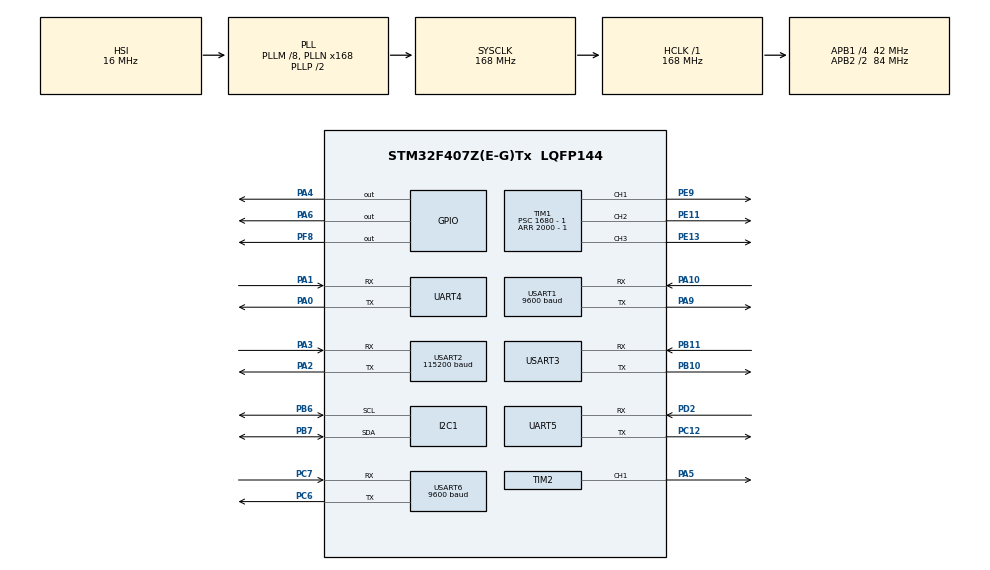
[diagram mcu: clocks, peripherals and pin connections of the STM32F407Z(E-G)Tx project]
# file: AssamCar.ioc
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Dma.I2C1_RX.4.Direction=DMA_PERIPH_TO_MEMORY
Dma.I2C1_RX.4.FIFOMode=DMA_FIFOMODE_DISABLE
Dma.I2C1_RX.4.Instance=DMA1_Stream0
Dma.I2C1_RX.4.MemDataAlignment=DMA_MDATAALIGN_BYTE
Dma.I2C1_RX.4.MemInc=DMA_MINC_ENABLE
Dma.I2C1_RX.4.Mode=DMA_NORMAL
Dma.I2C1_RX.4.PeriphDataAlignment=DMA_PDATAALIGN_BYTE
Dma.I2C1_RX.4.PeriphInc=DMA_PINC_DISABLE
Dma.I2C1_RX.4.Priority=DMA_PRIORITY_LOW
Dma.Request0=UART4_RX
Dma.Request1=UART4_TX
Dma.Request2=USART1_RX
Dma.Request3=USART3_RX
Dma.Request4=I2C1_RX
Dma.UART4_RX.0.Direction=DMA_PERIPH_TO_MEMORY
Dma.UART4_RX.0.FIFOMode=DMA_FIFOMODE_DISABLE
Dma.UART4_RX.0.Instance=DMA1_Stream2
Dma.UART4_RX.0.MemDataAlignment=DMA_MDATAALIGN_BYTE
Dma.UART4_RX.0.MemInc=DMA_MINC_ENABLE
Dma.UART4_RX.0.Mode=DMA_NORMAL
Dma.UART4_RX.0.PeriphDataAlignment=DMA_PDATAALIGN_BYTE
Dma.UART4_RX.0.PeriphInc=DMA_PINC_DISABLE
Dma.UART4_RX.0.Priority=DMA_PRIORITY_LOW
Dma.UART4_TX.1.Direction=DMA_MEMORY_TO_PERIPH
Dma.UART4_TX.1.FIFOMode=DMA_FIFOMODE_DISABLE
Dma.UART4_TX.1.Instance=DMA1_Stream4
Dma.UART4_TX.1.MemDataAlignment=DMA_MDATAALIGN_BYTE
Dma.UART4_TX.1.MemInc=DMA_MINC_ENABLE
Dma.UART4_TX.1.Mode=DMA_NORMAL
Dma.UART4_TX.1.PeriphDataAlignment=DMA_PDATAALIGN_BYTE
Dma.UART4_TX.1.PeriphInc=DMA_PINC_DISABLE
Dma.UART4_TX.1.Priority=DMA_PRIORITY_LOW
Dma.USART1_RX.2.Direction=DMA_PERIPH_TO_MEMORY
Dma.USART1_RX.2.FIFOMode=DMA_FIFOMODE_DISABLE
Dma.USART1_RX.2.Instance=DMA2_Stream2
Dma.USART1_RX.2.MemDataAlignment=DMA_MDATAALIGN_BYTE
Dma.USART1_RX.2.MemInc=DMA_MINC_ENABLE
Dma.USART1_RX.2.Mode=DMA_NORMAL
Dma.USART1_RX.2.PeriphDataAlignment=DMA_PDATAALIGN_BYTE
Dma.USART1_RX.2.PeriphInc=DMA_PINC_DISABLE
Dma.USART1_RX.2.Priority=DMA_PRIORITY_LOW
Dma.USART3_RX.3.Direction=DMA_PERIPH_TO_MEMORY
Dma.USART3_RX.3.FIFOMode=DMA_FIFOMODE_DISABLE
Dma.USART3_RX.3.Instance=DMA1_Stream1
Dma.USART3_RX.3.MemDataAlignment=DMA_MDATAALIGN_BYTE
Dma.USART3_RX.3.MemInc=DMA_MINC_ENABLE
Dma.USART3_RX.3.Mode=DMA_NORMAL
Dma.USART3_RX.3.PeriphDataAlignment=DMA_PDATAALIGN_BYTE
Dma.USART3_RX.3.PeriphInc=DMA_PINC_DISABLE
Dma.USART3_RX.3.Priority=DMA_PRIORITY_LOW
Mcu.Family=STM32F4
Mcu.Name=STM32F407Z(E-G)Tx
Mcu.Package=LQFP144
NVIC.DMA1_Stream0_IRQn=true\:0\:0\:false\:false\:true\:false\:true\:true
NVIC.DMA1_Stream1_IRQn=true\:0\:0\:false\:false\:true\:false\:true\:true
NVIC.DMA1_Stream2_IRQn=true\:0\:0\:false\:false\:true\:false\:true\:true
NVIC.DMA1_Stream4_IRQn=true\:0\:0\:false\:false\:true\:false\:true\:true
NVIC.DMA2_Stream2_IRQn=true\:0\:0\:false\:false\:true\:false\:true\:true
NVIC.PriorityGroup=NVIC_PRIORITYGROUP_4
NVIC.TIM2_IRQn=true\:0\:0\:false\:false\:true\:true\:true\:true
NVIC.USART1_IRQn=true\:0\:0\:false\:false\:true\:true\:true\:true
NVIC.USART6_IRQn=true\:0\:0\:false\:false\:true\:true\:true\:true
PA0-WKUP.Mode=Asynchronous
PA0-WKUP.Signal=UART4_TX
PA1.Mode=Asynchronous
PA1.Signal=UART4_RX
PA10.Mode=Asynchronous
PA10.Signal=USART1_RX
PA13.Mode=Serial_Wire
PA13.Signal=SYS_JTMS-SWDIO
PA14.Mode=Serial_Wire
PA14.Signal=SYS_JTCK-SWCLK
PA2.Mode=Asynchronous
PA2.Signal=USART2_TX
PA3.Mode=Asynchronous
PA3.Signal=USART2_RX
PA4.Signal=GPIO_Output
PA5.Signal=S_TIM2_CH1_ETR
PA6.Signal=GPIO_Output
PA9.Mode=Asynchronous
PA9.Signal=USART1_TX
PB10.Mode=Asynchronous
PB10.Signal=USART3_TX
PB11.Mode=Asynchronous
PB11.Signal=USART3_RX
PB6.Mode=I2C
PB6.Signal=I2C1_SCL
PB7.Mode=I2C
PB7.Signal=I2C1_SDA
PC12.Mode=Asynchronous
PC12.Signal=UART5_TX
PC6.Mode=Asynchronous
PC6.Signal=USART6_TX
PC7.Mode=Asynchronous
PC7.Signal=USART6_RX
PD2.Mode=Asynchronous
PD2.Signal=UART5_RX
PE11.Signal=S_TIM1_CH2
PE13.Signal=S_TIM1_CH3
PE9.Signal=S_TIM1_CH1
PF8.Signal=GPIO_Output
PH0-OSC_IN.Mode=HSE-External-Oscillator
PH0-OSC_IN.Signal=RCC_OSC_IN
PH1-OSC_OUT.Mode=HSE-External-Oscillator
PH1-OSC_OUT.Signal=RCC_OSC_OUT
ProjectManager.HeapSize=0x200
ProjectManager.StackSize=0x400
ProjectManager.TargetToolchain=CMake
RCC.48MHZClocksFreq_Value=84000000
RCC.AHBFreq_Value=168000000
RCC.APB1CLKDivider=RCC_HCLK_DIV4
RCC.APB1Freq_Value=42000000
RCC.APB1TimFreq_Value=84000000
RCC.APB2CLKDivider=RCC_HCLK_DIV2
RCC.APB2Freq_Value=84000000
RCC.APB2TimFreq_Value=168000000
RCC.CortexFreq_Value=168000000
RCC.HCLKFreq_Value=168000000
RCC.HSE_VALUE=25000000
RCC.HSI_VALUE=16000000
RCC.LSE_VALUE=32768
RCC.PLLM=8
RCC.PLLN=168
RCC.SYSCLKFreq_VALUE=168000000
RCC.SYSCLKSource=RCC_SYSCLKSOURCE_PLLCLK
RCC.VCOOutputFreq_Value=336000000
SH.S_TIM1_CH1.0=TIM1_CH1,PWM Generation1 CH1
SH.S_TIM1_CH2.0=TIM1_CH2,PWM Generation2 CH2
SH.S_TIM1_CH3.0=TIM1_CH3,PWM Generation3 CH3
SH.S_TIM2_CH1_ETR.0=TIM2_CH1,PWM Generation1 CH1
TIM1.Channel-PWM\ Generation1\ CH1=TIM_CHANNEL_1
TIM1.Channel-PWM\ Generation2\ CH2=TIM_CHANNEL_2
TIM1.Channel-PWM\ Generation3\ CH3=TIM_CHANNEL_3
TIM1.Period=2000 - 1
TIM1.Prescaler=1680 - 1
TIM2.Channel-PWM\ Generation1\ CH1=TIM_CHANNEL_1
TIM2.CounterMode=TIM_COUNTERMODE_UP
TIM2.Period=2000 - 1
TIM2.Prescaler=1 - 1
UART4.VirtualMode=Asynchronous
UART5.VirtualMode=Asynchronous
USART1.BaudRate=9600
USART1.VirtualMode=VM_ASYNC
USART2.BaudRate=115200
USART2.VirtualMode=VM_ASYNC
USART3.VirtualMode=VM_ASYNC
USART6.BaudRate=9600
USART6.VirtualMode=VM_ASYNC
VP_TIM1_VS_ClockSourceINT.Mode=Internal
VP_TIM2_VS_ClockSourceINT.Mode=Internal
board=custom

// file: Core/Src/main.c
/* USER CODE BEGIN Header */
/**
  ******************************************************************************
  * @file           : main.c
  * @brief          : Main program body
  ******************************************************************************
  * @attention
  *
  * Copyright (c) 2026 STMicroelectronics.
  * All rights reserved.
  *
  * This software is licensed under terms that can be found in the LICENSE file
  * in the root directory of this software component.
  * If no LICENSE file comes with this software, it is provided AS-IS.
  *
  ******************************************************************************
  */
/* USER CODE END Header */
#include "main.h"
#include "dma.h"
#include "i2c.h"
#include "tim.h"
#include "usart.h"
#include "gpio.h"

/* USER CODE BEGIN Includes */
#include <stdio.h>
#include <string.h>
#include "stdarg.h"

#include <stdbool.h>
/* USER CODE END Includes */

/* USER CODE BEGIN PV */
static volatile uint32_t elevationPulseTarget = 0;
static volatile uint32_t elevationPulseCount = 0;
static volatile bool elevationPulseCompleted = false;

/* USER CODE END PV */

void SystemClock_Config(void);

/* USER CODE BEGIN 0 */
void ElevationPulseCounterReset(uint32_t target)
{
    elevationPulseCount = 0;
    elevationPulseTarget = target;
    elevationPulseCompleted = false;
}

bool ElevationPulseCounterIsCompleted(void)
{
    return elevationPulseCompleted;
}

/* USER CODE END 0 */

int main(void)
{

  /* MCU Configuration--------------------------------------------------------*/

  /* Reset of all peripherals, Initializes the Flash interface and the Systick. */
  HAL_Init();

  /* Configure the system clock */
  SystemClock_Config();

  /* Initialize all configured peripherals */
  MX_GPIO_Init();
  MX_DMA_Init();
  MX_UART4_Init();
  MX_I2C1_Init();
  MX_TIM1_Init();
  MX_UART5_Init();
  MX_USART1_UART_Init();
  MX_USART2_UART_Init();
  MX_USART3_UART_Init();
  MX_USART6_UART_Init();
  MX_TIM2_Init();
  /* USER CODE BEGIN 2 */
    void Main();
    Main();
  /* USER CODE END 2 */

  /* Infinite loop */
  while (1)
  {

  }
}

void SystemClock_Config(void)
{
  RCC_OscInitTypeDef RCC_OscInitStruct = {0};
  RCC_ClkInitTypeDef RCC_ClkInitStruct = {0};

  /** Configure the main internal regulator output voltage
  */
  __HAL_RCC_PWR_CLK_ENABLE();
  __HAL_PWR_VOLTAGESCALING_CONFIG(PWR_REGULATOR_VOLTAGE_SCALE1);

  /** Initializes the RCC Oscillators according to the specified parameters
  * in the RCC_OscInitTypeDef structure.
  */
  RCC_OscInitStruct.OscillatorType = RCC_OSCILLATORTYPE_HSI;
  RCC_OscInitStruct.HSIState = RCC_HSI_ON;
  RCC_OscInitStruct.HSICalibrationValue = RCC_HSICALIBRATION_DEFAULT;
  RCC_OscInitStruct.PLL.PLLState = RCC_PLL_ON;
  RCC_OscInitStruct.PLL.PLLSource = RCC_PLLSOURCE_HSI;
  RCC_OscInitStruct.PLL.PLLM = 8;
  RCC_OscInitStruct.PLL.PLLN = 168;
  RCC_OscInitStruct.PLL.PLLP = RCC_PLLP_DIV2;
  RCC_OscInitStruct.PLL.PLLQ = 4;
  if (HAL_RCC_OscConfig(&RCC_OscInitStruct) != HAL_OK)
  {
    Error_Handler();
  }

  /** Initializes the CPU, AHB and APB buses clocks
  */
  RCC_ClkInitStruct.ClockType = RCC_CLOCKTYPE_HCLK|RCC_CLOCKTYPE_SYSCLK
                              |RCC_CLOCKTYPE_PCLK1|RCC_CLOCKTYPE_PCLK2;
  RCC_ClkInitStruct.SYSCLKSource = RCC_SYSCLKSOURCE_PLLCLK;
  RCC_ClkInitStruct.AHBCLKDivider = RCC_SYSCLK_DIV1;
  RCC_ClkInitStruct.APB1CLKDivider = RCC_HCLK_DIV4;
  RCC_ClkInitStruct.APB2CLKDivider = RCC_HCLK_DIV2;

  if (HAL_RCC_ClockConfig(&RCC_ClkInitStruct, FLASH_LATENCY_5) != HAL_OK)
  {
    Error_Handler();
  }
}

/* USER CODE BEGIN 4 */
void HAL_TIM_PWM_PulseFinishedCallback(TIM_HandleTypeDef *htim)
{
    if ((htim->Instance == TIM2) &&
        (htim->Channel == HAL_TIM_ACTIVE_CHANNEL_1)) {

        elevationPulseCount++;

        if (elevationPulseCount >= elevationPulseTarget) {
            HAL_TIM_PWM_Stop_IT(htim, TIM_CHANNEL_1);
            elevationPulseCompleted = true;
        }
    }
}
/* USER CODE END 4 */

void Error_Handler(void)
{
  __disable_irq();
  while (1)
  {
  }
}
